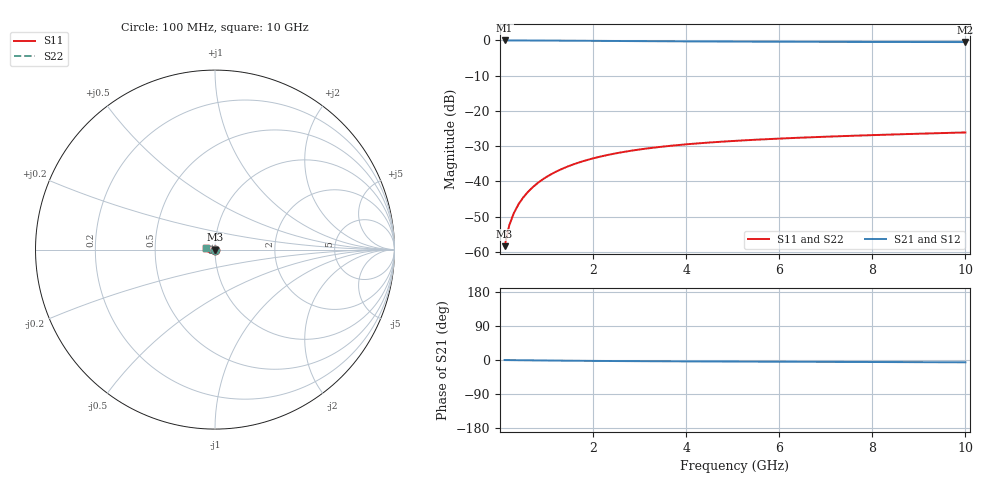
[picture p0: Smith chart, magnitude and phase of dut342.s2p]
! Touchstone file exported from HFSS 2024.1.0
!  File:  C:/UserFiles/LocalFiles/RDL_TSV_Batchsim/temp_TSV1_342_1779619225.aedt
!  Generated:  06:47:00 PM May 24, 2026
!  Design:  TSV1
!  Project:  temp_TSV1_342_1779619225
!  Setup:  Setup1
!  Solution:  Sweep
! Variables:
!  dtsv = 8.62um
!  hbump = 3um
!  htsv = 95.94um
!  lrdl = 252.1521522um
!  p = 40
!  p1 = 51.65um
!  t = 500um
!  trdl = 3um
!  wrdl = 24.89489489um
# GHz S MA R 50.000000
! Terminal data exported
! Port[1] = TSV22_T1
! Port[2] = TSV22_T2
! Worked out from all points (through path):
!   100 points, 100 MHz to 10 GHz, reference 50 ohm
!   highest |S21| = 0.00 dB at 100 MHz (marker M1); lowest = -0.5 dB at 10 GHz (marker M2)
!   lowest |S11| = -58.4 dB at 100 MHz (marker M3), VSWR 1.00, Z = 50 - j0.119 ohm
!   |S11| at or under -10 dB: start of sweep to end of sweep
!   |S22| runs from -58.4 to -26.1 dB; largest |S21 - S12| = 3.1e-15
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0.1  0.001203 -81.4  0.9997 -0.1  0.9997 -0.1  0.001203 -81.4
! Gamma 0 0 0 0
! Port Impedance 50 0 50 0
0.2  0.002381 -88.4  0.9996 -0.3  0.9996 -0.3  0.002381 -88.4
0.3  0.003565 -92.0  0.9994 -0.4  0.9994 -0.4  0.003565 -92.0
0.4  0.004745 -94.8  0.9991 -0.5  0.9991 -0.5  0.004745 -94.8
0.5  0.005917 -97.2  0.9987 -0.7  0.9987 -0.7  0.005917 -97.2
0.6  0.007077 -99.4  0.9983 -0.8  0.9983 -0.8  0.007077 -99.4
0.7  0.008223 -101.6  0.9978 -0.9  0.9978 -0.9  0.008223 -101.6
0.8  0.009353 -103.6  0.9972 -1.1  0.9972 -1.1  0.009353 -103.6
0.9  0.01046 -105.6  0.9966 -1.2  0.9966 -1.2  0.01046 -105.6
1.1  0.01263 -109.5  0.9952 -1.4  0.9952 -1.4  0.01263 -109.5
1.4  0.01571 -115.0  0.9928 -1.8  0.9928 -1.8  0.01571 -115.0
1.6  0.01764 -118.5  0.9911 -2.0  0.9911 -2.0  0.01764 -118.5
1.8  0.01946 -121.8  0.9892 -2.2  0.9892 -2.2  0.01946 -121.8
2.1  0.02201 -126.6  0.9863 -2.4  0.9863 -2.4  0.02201 -126.6
2.5  0.02506 -132.6  0.9825 -2.8  0.9825 -2.8  0.02506 -132.6
2.9  0.02773 -138.1  0.9788 -3.0  0.9788 -3.0  0.02773 -138.1
3.4  0.03062 -144.4  0.9745 -3.3  0.9745 -3.3  0.03062 -144.4
4.2  0.03439 -153.3  0.9686 -3.8  0.9686 -3.8  0.03439 -153.3
5.1  0.03773 -161.9  0.9632 -4.2  0.9632 -4.2  0.03773 -161.9
6.7  0.04229 -174.4  0.9563 -4.8  0.9563 -4.8  0.04229 -174.4
8.4  0.04618 174.8  0.9515 -5.5  0.9515 -5.5  0.04618 174.8
10  0.04948 166.4  0.9483 -6.1  0.9483 -6.1  0.04947 166.4
